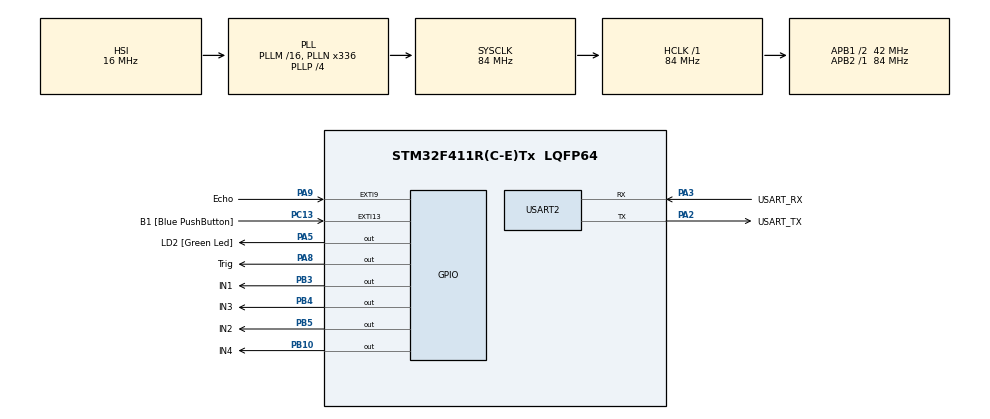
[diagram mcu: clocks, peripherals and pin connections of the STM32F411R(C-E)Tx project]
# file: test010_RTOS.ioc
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FREERTOS.BinarySemaphores01=myBinarySem01,Dynamic,NULL
FREERTOS.Tasks01=myTask01,1,512,myStartTask01,Default,NULL,Dynamic,NULL,NULL;myTask02,0,256,myStartTask02,Default,NULL,Dynamic,NULL,NULL;myTask03,-2,128,myStartTask03,Default,NULL,Dynamic,NULL,NULL;myTask04,-3,128,myStartTask04,Default,NULL,Dynamic,NULL,NULL
FREERTOS.configUSE_NEWLIB_REENTRANT=1
Mcu.Family=STM32F4
Mcu.Name=STM32F411R(C-E)Tx
Mcu.Package=LQFP64
NVIC.EXTI15_10_IRQn=true\:5\:0\:false\:false\:true\:true\:true\:true\:true
NVIC.EXTI9_5_IRQn=true\:5\:0\:false\:false\:true\:true\:true\:true\:true
NVIC.PriorityGroup=NVIC_PRIORITYGROUP_4
NVIC.TIM1_UP_TIM10_IRQn=true\:5\:0\:false\:false\:true\:false\:false\:true\:true
NVIC.TIM2_IRQn=true\:5\:0\:false\:false\:true\:true\:true\:true\:true
NVIC.TimeBase=TIM1_UP_TIM10_IRQn
NVIC.TimeBaseIP=TIM10
PA13.GPIO_Label=TMS
PA13.Mode=Serial_Wire
PA13.Signal=SYS_JTMS-SWDIO
PA14.GPIO_Label=TCK
PA14.Mode=Serial_Wire
PA14.Signal=SYS_JTCK-SWCLK
PA2.GPIO_Label=USART_TX
PA2.Mode=Asynchronous
PA2.Signal=USART2_TX
PA3.GPIO_Label=USART_RX
PA3.Mode=Asynchronous
PA3.Signal=USART2_RX
PA5.GPIO_Label=LD2 [Green Led]
PA5.Signal=GPIO_Output
PA8.GPIO_Label=Trig
PA8.Signal=GPIO_Output
PA9.GPIO_Label=Echo
PA9.GPIO_ModeDefaultEXTI=GPIO_MODE_IT_RISING_FALLING
PA9.Signal=GPXTI9
PB10.GPIO_Label=IN4
PB10.Signal=GPIO_Output
PB3.GPIO_Label=IN1
PB3.Signal=GPIO_Output
PB4.GPIO_Label=IN3
PB4.Signal=GPIO_Output
PB5.GPIO_Label=IN2
PB5.Signal=GPIO_Output
PC13-ANTI_TAMP.GPIO_Label=B1 [Blue PushButton]
PC13-ANTI_TAMP.GPIO_ModeDefaultEXTI=GPIO_MODE_IT_FALLING
PC13-ANTI_TAMP.Signal=GPXTI13
PC14-OSC32_IN.Mode=LSE-External-Oscillator
PC14-OSC32_IN.Signal=RCC_OSC32_IN
PC15-OSC32_OUT.Mode=LSE-External-Oscillator
PC15-OSC32_OUT.Signal=RCC_OSC32_OUT
PH0\ -\ OSC_IN.Mode=HSE-External-Clock-Source
PH0\ -\ OSC_IN.Signal=RCC_OSC_IN
PH1\ -\ OSC_OUT.Mode=HSE-External-Clock-Source
PH1\ -\ OSC_OUT.Signal=RCC_OSC_OUT
ProjectManager.HeapSize=0x200
ProjectManager.StackSize=0x400
ProjectManager.TargetToolchain=STM32CubeIDE
RCC.48MHZClocksFreq_Value=84000000
RCC.AHBFreq_Value=84000000
RCC.APB1CLKDivider=RCC_HCLK_DIV2
RCC.APB1Freq_Value=42000000
RCC.APB1TimFreq_Value=84000000
RCC.APB2Freq_Value=84000000
RCC.APB2TimFreq_Value=84000000
RCC.CortexFreq_Value=84000000
RCC.FLatency-AdvancedSettings=FLASH_LATENCY_2
RCC.HCLKFreq_Value=84000000
RCC.HSE_VALUE=8000000
RCC.HSI_VALUE=16000000
RCC.PLLN=336
RCC.PLLP=RCC_PLLP_DIV4
RCC.SYSCLKFreq_VALUE=84000000
RCC.SYSCLKSource=RCC_SYSCLKSOURCE_PLLCLK
RCC.VCOOutputFreq_Value=336000000
TIM2.Prescaler=84-1
USART2.VirtualMode=VM_ASYNC
VP_FREERTOS_VS_CMSIS_V1.Mode=CMSIS_V1
VP_SYS_VS_tim10.Mode=TIM10
VP_TIM2_VS_ClockSourceINT.Mode=Internal
board=NUCLEO-F411RE

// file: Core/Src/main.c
/* USER CODE BEGIN Header */
/**
  ******************************************************************************
  * @file           : main.c
  * @brief          : Main program body
  ******************************************************************************
  * @attention
  *
  * Copyright (c) 2025 STMicroelectronics.
  * All rights reserved.
  *
  * This software is licensed under terms that can be found in the LICENSE file
  * in the root directory of this software component.
  * If no LICENSE file comes with this software, it is provided AS-IS.
  *
  ******************************************************************************
  */
/* USER CODE END Header */
#include "main.h"
#include "cmsis_os.h"

TIM_HandleTypeDef htim2;

UART_HandleTypeDef huart2;

osThreadId myTask01Handle;
osThreadId myTask02Handle;
osThreadId myTask03Handle;
osThreadId myTask04Handle;
osSemaphoreId myBinarySem01Handle;

void SystemClock_Config(void);
static void MX_GPIO_Init(void);
static void MX_USART2_UART_Init(void);
static void MX_TIM2_Init(void);
void myStartTask01(void const * argument);
void myStartTask02(void const * argument);
void myStartTask03(void const * argument);
void myStartTask04(void const * argument);

/* USER CODE BEGIN 0 */
int mode = 0;
int step = 0;
int d;
int spinning = 0;
void microDelay(int us) {
	htim2.Instance->CNT = 0;
	while((htim2.Instance->CNT < us));
}
void Trigger()
{
	HAL_GPIO_WritePin(Trig_GPIO_Port, Trig_Pin, 0);
	microDelay(10);
	HAL_GPIO_WritePin(Trig_GPIO_Port, Trig_Pin, 1);
	microDelay(10);
	HAL_GPIO_WritePin(Trig_GPIO_Port, Trig_Pin, 0);
}
void LD2Test()
{
	HAL_GPIO_TogglePin(LD2_GPIO_Port, LD2_Pin);
}
//void HAL_GPIO_EXTI_Callback(uint16_t btn) //External Interrupt ISR
//{
////	switch(btn)
////	{
////	case B1_Pin :
////		d += 45;
////		mode = mode ? 0 : 1;
////		break;
////	}
//	osSemaphoreRelease(myBinarySem01Handle);
//}
double dist;
int t1 = 0, t2 = 0;
int angle = 0;

void HAL_GPIO_EXTI_Callback(uint16_t GPIO_PIN)
{
	if(GPIO_PIN == Echo_Pin)
	{
		if(HAL_GPIO_ReadPin(Echo_GPIO_Port, Echo_Pin) == 1)
		{
			//htim2.Instance->CNT = 0;
			t1 = htim2.Instance->CNT;
		}
		else
		{
			t2 = htim2.Instance->CNT;
			dist = (t2 - t1) * 0.17;
		}
	}
//	if(dist < 100)
//	{
//		angle = 90 * 2048 / 360;
//		spinning = 1;
//	}
//	else if(dist >= 100 && dist < 300)
//	{
//		angle = 45 * 2048 / 360;
//		spinning = 1;
//	}

}
void step_Wave(int step)
{
	switch(step)
	{
	case 0:
		HAL_GPIO_WritePin(IN1_GPIO_Port, IN1_Pin, 1);
		HAL_GPIO_WritePin(IN2_GPIO_Port, IN2_Pin, 0);
		HAL_GPIO_WritePin(IN3_GPIO_Port, IN3_Pin, 0);
		HAL_GPIO_WritePin(IN4_GPIO_Port, IN4_Pin, 0);
		break;
	case 1:
		HAL_GPIO_WritePin(IN1_GPIO_Port, IN1_Pin, 0);
		HAL_GPIO_WritePin(IN2_GPIO_Port, IN2_Pin, 1);
		HAL_GPIO_WritePin(IN3_GPIO_Port, IN3_Pin, 0);
		HAL_GPIO_WritePin(IN4_GPIO_Port, IN4_Pin, 0);
		break;
	case 2:
		HAL_GPIO_WritePin(IN1_GPIO_Port, IN1_Pin, 0);
		HAL_GPIO_WritePin(IN2_GPIO_Port, IN2_Pin, 0);
		HAL_GPIO_WritePin(IN3_GPIO_Port, IN3_Pin, 1);
		HAL_GPIO_WritePin(IN4_GPIO_Port, IN4_Pin, 0);
		break;
	case 3:
		HAL_GPIO_WritePin(IN1_GPIO_Port, IN1_Pin, 0);
		HAL_GPIO_WritePin(IN2_GPIO_Port, IN2_Pin, 0);
		HAL_GPIO_WritePin(IN3_GPIO_Port, IN3_Pin, 0);
		HAL_GPIO_WritePin(IN4_GPIO_Port, IN4_Pin, 1);
		break;

	}
}
/* USER CODE END 0 */

int main(void)
{

  /* MCU Configuration--------------------------------------------------------*/

  /* Reset of all peripherals, Initializes the Flash interface and the Systick. */
  HAL_Init();

  /* Configure the system clock */
  SystemClock_Config();

  /* Initialize all configured peripherals */
  MX_GPIO_Init();
  MX_USART2_UART_Init();
  MX_TIM2_Init();

  /* Create the semaphores(s) */
  /* definition and creation of myBinarySem01 */
  osSemaphoreDef(myBinarySem01);
  myBinarySem01Handle = osSemaphoreCreate(osSemaphore(myBinarySem01), 1);

  /* Create the thread(s) */
  /* definition and creation of myTask01 */
  osThreadDef(myTask01, myStartTask01, osPriorityAboveNormal, 0, 512);
  myTask01Handle = osThreadCreate(osThread(myTask01), NULL);

  /* definition and creation of myTask02 */
  osThreadDef(myTask02, myStartTask02, osPriorityNormal, 0, 256);
  myTask02Handle = osThreadCreate(osThread(myTask02), NULL);

  /* definition and creation of myTask03 */
  osThreadDef(myTask03, myStartTask03, osPriorityLow, 0, 128);
  myTask03Handle = osThreadCreate(osThread(myTask03), NULL);

  /* definition and creation of myTask04 */
  osThreadDef(myTask04, myStartTask04, osPriorityIdle, 0, 128);
  myTask04Handle = osThreadCreate(osThread(myTask04), NULL);

  /* USER CODE BEGIN RTOS_THREADS */
  /* add threads, ... */
  ProgramStart("RTOS Test"); // before the osKernelStart
  HAL_TIM_Base_Start(&htim2);
  //HAL_TIM_PWM_Start(&htim1, TIM_CHANNEL_1);
  //HAL_TIM_Base_Start_IT(&htim3);
  /* USER CODE END RTOS_THREADS */

  /* Start scheduler */
  osKernelStart();

  /* We should never get here as control is now taken by the scheduler */
  /* Infinite loop */
  /* USER CODE BEGIN WHILE */
  while (1)
  {
//	  LD2Test();
//	  HAL_Delay(500);
    /* USER CODE END WHILE */

  }
}

void SystemClock_Config(void)
{
  RCC_OscInitTypeDef RCC_OscInitStruct = {0};
  RCC_ClkInitTypeDef RCC_ClkInitStruct = {0};

  /** Configure the main internal regulator output voltage
  */
  __HAL_RCC_PWR_CLK_ENABLE();
  __HAL_PWR_VOLTAGESCALING_CONFIG(PWR_REGULATOR_VOLTAGE_SCALE1);

  /** Initializes the RCC Oscillators according to the specified parameters
  * in the RCC_OscInitTypeDef structure.
  */
  RCC_OscInitStruct.OscillatorType = RCC_OSCILLATORTYPE_HSI;
  RCC_OscInitStruct.HSIState = RCC_HSI_ON;
  RCC_OscInitStruct.HSICalibrationValue = RCC_HSICALIBRATION_DEFAULT;
  RCC_OscInitStruct.PLL.PLLState = RCC_PLL_ON;
  RCC_OscInitStruct.PLL.PLLSource = RCC_PLLSOURCE_HSI;
  RCC_OscInitStruct.PLL.PLLM = 16;
  RCC_OscInitStruct.PLL.PLLN = 336;
  RCC_OscInitStruct.PLL.PLLP = RCC_PLLP_DIV4;
  RCC_OscInitStruct.PLL.PLLQ = 4;
  if (HAL_RCC_OscConfig(&RCC_OscInitStruct) != HAL_OK)
  {
    Error_Handler();
  }

  /** Initializes the CPU, AHB and APB buses clocks
  */
  RCC_ClkInitStruct.ClockType = RCC_CLOCKTYPE_HCLK|RCC_CLOCKTYPE_SYSCLK
                              |RCC_CLOCKTYPE_PCLK1|RCC_CLOCKTYPE_PCLK2;
  RCC_ClkInitStruct.SYSCLKSource = RCC_SYSCLKSOURCE_PLLCLK;
  RCC_ClkInitStruct.AHBCLKDivider = RCC_SYSCLK_DIV1;
  RCC_ClkInitStruct.APB1CLKDivider = RCC_HCLK_DIV2;
  RCC_ClkInitStruct.APB2CLKDivider = RCC_HCLK_DIV1;

  if (HAL_RCC_ClockConfig(&RCC_ClkInitStruct, FLASH_LATENCY_2) != HAL_OK)
  {
    Error_Handler();
  }
}

static void MX_TIM2_Init(void)
{

  TIM_ClockConfigTypeDef sClockSourceConfig = {0};
  TIM_MasterConfigTypeDef sMasterConfig = {0};

  htim2.Instance = TIM2;
  htim2.Init.Prescaler = 84-1;
  htim2.Init.CounterMode = TIM_COUNTERMODE_UP;
  htim2.Init.Period = 4294967295;
  htim2.Init.ClockDivision = TIM_CLOCKDIVISION_DIV1;
  htim2.Init.AutoReloadPreload = TIM_AUTORELOAD_PRELOAD_DISABLE;
  if (HAL_TIM_Base_Init(&htim2) != HAL_OK)
  {
    Error_Handler();
  }
  sClockSourceConfig.ClockSource = TIM_CLOCKSOURCE_INTERNAL;
  if (HAL_TIM_ConfigClockSource(&htim2, &sClockSourceConfig) != HAL_OK)
  {
    Error_Handler();
  }
  sMasterConfig.MasterOutputTrigger = TIM_TRGO_RESET;
  sMasterConfig.MasterSlaveMode = TIM_MASTERSLAVEMODE_DISABLE;
  if (HAL_TIMEx_MasterConfigSynchronization(&htim2, &sMasterConfig) != HAL_OK)
  {
    Error_Handler();
  }

}

static void MX_USART2_UART_Init(void)
{

  huart2.Instance = USART2;
  huart2.Init.BaudRate = 115200;
  huart2.Init.WordLength = UART_WORDLENGTH_8B;
  huart2.Init.StopBits = UART_STOPBITS_1;
  huart2.Init.Parity = UART_PARITY_NONE;
  huart2.Init.Mode = UART_MODE_TX_RX;
  huart2.Init.HwFlowCtl = UART_HWCONTROL_NONE;
  huart2.Init.OverSampling = UART_OVERSAMPLING_16;
  if (HAL_UART_Init(&huart2) != HAL_OK)
  {
    Error_Handler();
  }

}

static void MX_GPIO_Init(void)
{
  GPIO_InitTypeDef GPIO_InitStruct = {0};

  /* GPIO Ports Clock Enable */
  __HAL_RCC_GPIOC_CLK_ENABLE();
  __HAL_RCC_GPIOH_CLK_ENABLE();
  __HAL_RCC_GPIOA_CLK_ENABLE();
  __HAL_RCC_GPIOB_CLK_ENABLE();

  /*Configure GPIO pin Output Level */
  HAL_GPIO_WritePin(GPIOA, LD2_Pin|Trig_Pin, GPIO_PIN_RESET);

  /*Configure GPIO pin Output Level */
  HAL_GPIO_WritePin(GPIOB, IN4_Pin|IN1_Pin|IN3_Pin|IN2_Pin, GPIO_PIN_RESET);

  /*Configure GPIO pin : B1_Pin */
  GPIO_InitStruct.Pin = B1_Pin;
  GPIO_InitStruct.Mode = GPIO_MODE_IT_FALLING;
  GPIO_InitStruct.Pull = GPIO_NOPULL;
  HAL_GPIO_Init(B1_GPIO_Port, &GPIO_InitStruct);

  /*Configure GPIO pins : LD2_Pin Trig_Pin */
  GPIO_InitStruct.Pin = LD2_Pin|Trig_Pin;
  GPIO_InitStruct.Mode = GPIO_MODE_OUTPUT_PP;
  GPIO_InitStruct.Pull = GPIO_NOPULL;
  GPIO_InitStruct.Speed = GPIO_SPEED_FREQ_LOW;
  HAL_GPIO_Init(GPIOA, &GPIO_InitStruct);

  /*Configure GPIO pins : IN4_Pin IN1_Pin IN3_Pin IN2_Pin */
  GPIO_InitStruct.Pin = IN4_Pin|IN1_Pin|IN3_Pin|IN2_Pin;
  GPIO_InitStruct.Mode = GPIO_MODE_OUTPUT_PP;
  GPIO_InitStruct.Pull = GPIO_NOPULL;
  GPIO_InitStruct.Speed = GPIO_SPEED_FREQ_LOW;
  HAL_GPIO_Init(GPIOB, &GPIO_InitStruct);

  /*Configure GPIO pin : Echo_Pin */
  GPIO_InitStruct.Pin = Echo_Pin;
  GPIO_InitStruct.Mode = GPIO_MODE_IT_RISING_FALLING;
  GPIO_InitStruct.Pull = GPIO_NOPULL;
  HAL_GPIO_Init(Echo_GPIO_Port, &GPIO_InitStruct);

  /* EXTI interrupt init*/
  HAL_NVIC_SetPriority(EXTI9_5_IRQn, 5, 0);
  HAL_NVIC_EnableIRQ(EXTI9_5_IRQn);

  HAL_NVIC_SetPriority(EXTI15_10_IRQn, 5, 0);
  HAL_NVIC_EnableIRQ(EXTI15_10_IRQn);

}

/* USER CODE BEGIN 4 */
int n = 0;

/* USER CODE END 4 */

void myStartTask01(void const * argument)
{
  /* USER CODE BEGIN 5 */
  /* Infinite loop */
  for(;;)
  {
	  if(osSemaphoreWait(myBinarySem01Handle, 0) == osOK)
	  {
//		  printf("Distance1 : %.2f\r\n", dist);
//		  printf("Angle0 : %d\r\n", angle);
		  Trigger();
		  printf("Spinning : %d\r\n", spinning);
		  printf("Distance2 : %6.2f\r\n", dist);
		  printf("Angle1 : %d\r\n", angle);
		  osSemaphoreRelease(myBinarySem01Handle);
		  printf("2222222222222222222\r\n");

		  osDelay(60);
		  printf("123123123123\r\n");
	  }
	  else if(spinning) {
		  printf("3333333333333\r\n");
		  osDelay(1);
//		  osSemaphoreRelease(myBinarySem01Handle);
	  }
	  osSemaphoreRelease(myBinarySem01Handle);
	  osDelay(1);
//	  if(osSemaphoreWait(myBinarySem01Handle, 0) == osOK)
//	  {
//		  printf("Task 01 (Normal) --------\r\n");
//		  osSemaphoreRelease(myBinarySem01Handle);
//		    osDelay(10);
//	  }

    //LD2Test();
    //Cursor(0,0);
    //printf("LD2 flashed %d times (Task 1)\r\n", n++);

		//HAL_Delay(500); // hardware delay

//    if(n == 1000)
//    {
//    	n = 0;
//    	osDelay(300);
//    }
  }

  /* USER CODE END 5 */
}

/* USER CODE BEGIN Header_myStartTask02 */
/**
* @brief Function implementing the myTask02 thread.
* @param argument: Not used
* @retval None
*/
int n2 = 0;
int cnt = 0;
/* USER CODE END Header_myStartTask02 */
void myStartTask02(void const * argument)
{
  /* USER CODE BEGIN myStartTask02 */
  /* Infinite loop */
  for(;;)
  {
	  if(osSemaphoreWait(myBinarySem01Handle, 0) == osOK)
	  {
		printf("Angle2 : %d \r\n", angle);
		printf("Count : %d \r\n", cnt);
		step_Wave(cnt % 4);
		if(cnt < angle)
		{
			cnt++;
		}
		else
		{
			cnt = 0;
			angle = 0;
			osSemaphoreRelease(myBinarySem01Handle);
		}
		  osDelay(1);
	  }
	  printf("spinning2 : %d\r\n", spinning);
	//Cursor(0,10);
//	  if(osSemaphoreWait(myBinarySem01Handle, 0) == osOK)
//	  {
//		  printf("Task 02 (Normal) -------\r\n");
//		  osSemaphoreRelease(myBinarySem01Handle);
//		    osDelay(10);
//	  }

//	if(~mode)
//		printf("button is pressed");
//	else
//		printf("                 ");
//	printf("Input Degree : ");
//	HAL_GPIO_WritePin(LD2_GPIO_Port, LD2_Pin, mode);
//	//scanf("%d", &d);
//	step = d * 4096 / 360; // d / 360 * 2048 ==> (integer d) d / 360 ==> d<360, (d/360) == 0
//	printf("Wave(Full) : %d steps, Half : %d steps", step / 2, step);
//
//	step_Wave(cnt % 4);
//	if(cnt < (step / 2))
//	{
//
//		cnt++;
//	}
//	else
//	{
//		cnt = 0;
//		d = 0;
//	}

    osDelay(1);
  }
  /* USER CODE END myStartTask02 */
}

void myStartTask03(void const * argument)
{
  /* USER CODE BEGIN myStartTask03 */
  /* Infinite loop */
  for(;;)
  {
//	  if(osSemaphoreWait(myBinarySem01Handle, 0) == osOK)
//	  {
//		  printf("Task 03 (Idle) ------\r\n");
//		  osSemaphoreRelease(myBinarySem01Handle);
//		    osDelay(10);
//	  }
//	  if(osSemaphoreWait(myBinarySem01Handle, 0) == osOK)
//	  {
//		  LD2Test();
////		  osSemaphoreRelease(myBinarySem01Handle);
//		  osDelay(10);
//	  }
	  printf("tttttest \r\n");
	  LD2Test();
	  osDelay(500);
  }
  /* USER CODE END myStartTask03 */
}

void myStartTask04(void const * argument)
{
  /* USER CODE BEGIN myStartTask04 */
  /* Infinite loop */
  for(;;)
  {
	  if(osSemaphoreWait(myBinarySem01Handle, 0) == osOK)
	  {
		  printf("Motor Complete\r\n");
		  osDelay(10);
		  osSemaphoreRelease(myBinarySem01Handle);
		  //osDelay(60);
	  }
//	  printf("Distance final : %.2f\r\n", dist);
//	  osSemaphoreRelease(myBinarySem01Handle);
	  osDelay(1);
  }
  /* USER CODE END myStartTask04 */
}

void HAL_TIM_PeriodElapsedCallback(TIM_HandleTypeDef *htim)
{
  if (htim->Instance == TIM10) {
    HAL_IncTick();
  }
}

void Error_Handler(void)
{
  __disable_irq();
  while (1)
  {
  }
}
